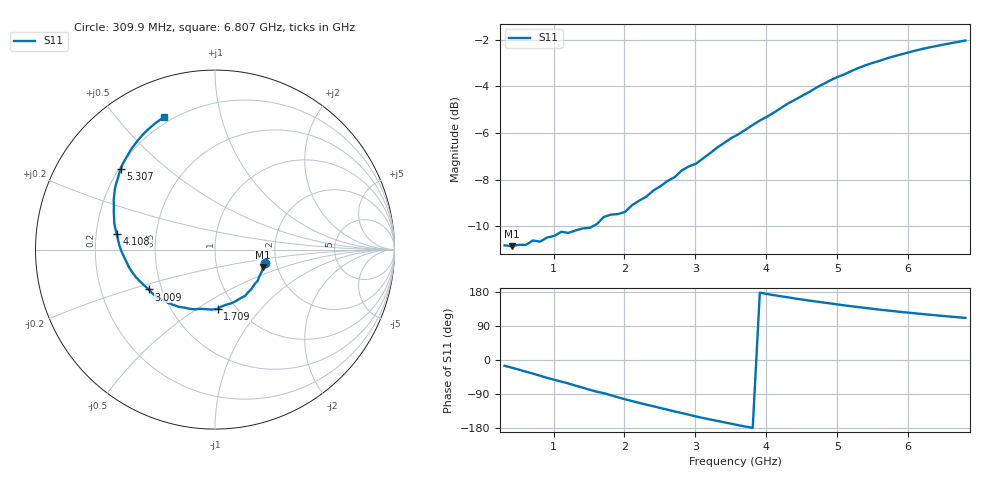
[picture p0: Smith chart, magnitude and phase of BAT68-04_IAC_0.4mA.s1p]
! Infineon Technologies  Discrete & RF Semiconductors
! BAT68-04
! IAC = 0.4 mA
! One-Port S-Parameters
# Hz  S  MA  R  50
!f  S11
!Hz  Mag  Ang
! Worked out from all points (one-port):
!   66 points, 309.9 MHz to 6.807 GHz, reference 50 ohm
!   lowest |S11| = -10.9 dB at 409.8 MHz (marker M1), VSWR 1.80, Z = 84.3 - j18.2 ohm
!   |S11| at or under -10 dB: start of sweep to 1.557 GHz
!   S11 on the Smith chart (normalised r, x): 309.9 MHz: 1.74, -0.29; 1.709 GHz: 0.82, -0.61; 3.009 GHz: 0.42, -0.23; 4.108 GHz: 0.29, +0.07; 5.307 GHz: 0.21, +0.36; 6.807 GHz: 0.17, +0.67
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3.0985e8  0.2875 -15.4
4.098e8  0.2864 -20.2
6.097e8  0.2882 -30.6
7.0965e8  0.2945 -35.9
8.096e8  0.2928 -41.5
1.10945e9  0.3074 -57.1
1.2094e9  0.3058 -61.9
1.4093e9  0.3125 -72.9
1.50925e9  0.3135 -78.6
1.70915e9  0.3309 -87.5
2.009e9  0.3393 -103.7
2.10895e9  0.3509 -108.4
2.4088e9  0.3772 -122.2
2.8086e9  0.4165 -140.1
3.0085e9  0.4305 -148.9
3.30835e9  0.4663 -160.7
3.6082e9  0.4981 -172.1
3.90805e9  0.5328 177.7
4.10795e9  0.5542 171.1
4.4078e9  0.5907 162.2
4.70765e9  0.6272 154.2
4.90755e9  0.6506 149.2
5.2074e9  0.6813 141.7
5.30735e9  0.6917 139.5
5.70715e9  0.7251 130.7
6.007e9  0.7462 124.9
6.30685e9  0.7653 119.4
6.8066e9  0.7915 111.1
